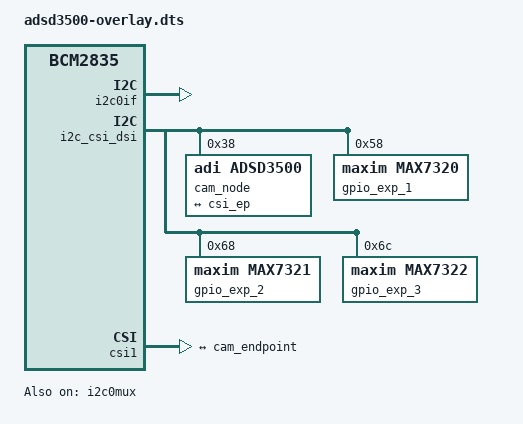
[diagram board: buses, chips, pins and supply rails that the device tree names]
// SPDX-License-Identifier: GPL-2.0-only
// Definitions for Analog Devices ADSD3500 TOF camera sensor on VC I2C bus
/dts-v1/;
/plugin/;

#include <dt-bindings/gpio/gpio.h>

/{
	compatible = "brcm,bcm2835";

	fragment@0 {
		target = <&i2c0if>;
		__overlay__ {
			status = "okay";
		};
	};

	clk_frag: fragment@1 {
		target = <&cam1_clk>;
		__overlay__ {
			status = "okay";
		};
	};

	fragment@2 {
		target = <&i2c0mux>;
		__overlay__ {
			status = "okay";
		};
	};

	i2c_frag: fragment@100 {
		target = <&i2c_csi_dsi>;
		__overlay__ {
			#address-cells = <1>;
			#size-cells = <0>;
			status = "okay";

			cam_node: adsd3500@38 {
				compatible = "adi,adsd3500";
				reg = <0x38>;
				status = "disabled";

				//reset-gpios = <&gpio 41 GPIO_ACTIVE_LOW>;
				//interrupt-gpios = <&gpio 40 GPIO_ACTIVE_HIGH>;

				rotation = <0>;
				orientation = <0>;

				port {
					cam_endpoint: endpoint {
						clock-lanes = <0>;
						data-lanes = <1 2>;
						clock-noncontinuous;
						link-frequencies =
							/bits/ 64 <732000000>;
					};
				};
			};

			/* MAX7320 on ADSD3500 BRD */
			gpio_exp_1: gpio@58 {
				compatible = "maxim,max7320";
				reg = <0x58>;
				gpio-controller;
				#gpio-cells = <2>;
				gpio-line-names = "M0", "M1", "SI0", "U0",
                              "IDSEL", "DS2", "EN_1P8", "EN_0P8";
			};

			/* MAX7321 on ADSD3500 BRD */
			gpio_exp_2: gpio@68 {
				compatible = "maxim,max7321";
				reg = <0x68>;
				gpio-controller;
				#gpio-cells = <2>;
				gpio-line-names = "OC0", "OC1", "OC2", "OC3",
                               "OC4", "OC5", "OC6", "FLASH_WP";
			};

			/* MAX7322 on RPI interposer */
			gpio_exp_3: gpio@6c {
				compatible = "maxim,max7322";
				reg = <0x6c>;
				gpio-controller;
				#gpio-cells = <2>;
				gpio-line-names = "EN_VAUX", "EN_VSYS", "I2_NC", "I3_NC",
                               "SHUTDOWN_RPI", "I5_NC", "O6_NC", "F_SYNC_RPI";
			};
		};
	};

	csi_frag: fragment@101 {
		target = <&csi1>;
		csi: __overlay__ {
			status = "okay";

			port {
				csi_ep: endpoint {
					remote-endpoint = <&cam_endpoint>;
					clock-lanes = <0>;
					data-lanes = <1 2>;
					clock-noncontinuous;
				};
			};
		};
	};

	fragment@102 {
		target = <&csi1>;
		__dormant__ {
			compatible = "brcm,bcm2835-unicam-legacy";
		};
	};

	fragment@201 {
		target = <&csi_ep>;
		__dormant__ {
			data-lanes = <1 2 3 4>;
		};
	};

	fragment@202 {
		target = <&cam_endpoint>;
		__dormant__ {
			data-lanes = <1 2 3 4>;
			link-frequencies =
					/bits/ 64 <732000000>;
		};
	};

	__overrides__ {
		rotation = <&cam_node>,"rotation:0";
		orientation = <&cam_node>,"orientation:0";
		media-controller = <0>,"!102";
		cam0 = <&i2c_frag>, "target:0=",<&i2c_csi_dsi0>,
		       <&csi_frag>, "target:0=",<&csi0>,
		       <&clk_frag>, "target:0=",<&cam0_clk>,
		       <&cam_node>, "clocks:0=",<&cam0_clk>;
		4lane = <0>, "+201+202";
		use-vc = <&cam_node>,"adi,use-vc?";
	};
};

&cam_node {
	status = "okay";
};

&cam_endpoint {
	remote-endpoint = <&csi_ep>;
};
